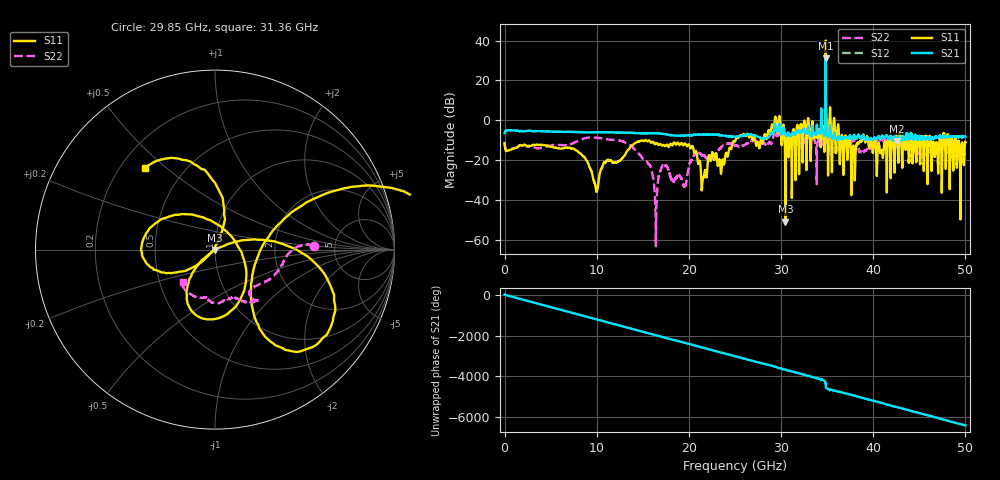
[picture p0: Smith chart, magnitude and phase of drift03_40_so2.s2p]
!Created with skrf (http://scikit-rf.org).
# Hz S RI R 50.0
!freq ReS11 ImS11 ReS21 ImS21 ReS12 ImS12 ReS22 ImS22
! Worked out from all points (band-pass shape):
!   10001 points, 300 kHz to 50 GHz, reference 50 ohm
!   highest |S21| = 31.16 dB at 34.85 GHz (marker M1); lowest = -10.4 dB at 42.56 GHz (marker M2)
!   |S21| within 3 dB of the highest: 34.8439 GHz to 34.84583 GHz (1.936 MHz wide, 0.00556 % of centre)
!   lowest |S11| = -50.9 dB at 30.47 GHz (marker M3), VSWR 1.01, Z = 49.8 - j0.222 ohm
!   |S11| at or under -10 dB: start of sweep to 15.23 GHz; 15.32 GHz to 25.05 GHz (9.731 GHz wide, 48.2 % of centre); 40.22 GHz to 41.62 GHz (1.4 GHz wide, 3.42 % of centre) (the widest 3 of 53)
!   |S22| runs from -63.2 to 22.1 dB; largest |S21 - S12| = 5
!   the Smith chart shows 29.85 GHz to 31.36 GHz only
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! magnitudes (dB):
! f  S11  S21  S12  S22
! 300 kHz  -11.4  -6.5  -6.5  -11.4
! 8.335 GHz  -17.1  -6.0  -6.0  -9.6
! 9.955 GHz  -35.6  -6.1  -6.1  -8.7
! 11 GHz  -20.8  -6.0  -6.1  -9.5
! 13.93 GHz  -12.3  -6.3  -6.3  -13.8
! 16.36 GHz  -11.9  -6.5  -6.5  -43.1
! 16.67 GHz  -12.4  -6.6  -6.5  -29.6
! 17.33 GHz  -12.7  -6.9  -6.9  -22.9
! 19.55 GHz  -11.7  -7.7  -7.7  -32.9
! 20.22 GHz  -13.9  -7.5  -7.5  -20.3
! 21.55 GHz  -28.7  -7.2  -7.2  -17.8
! 25 GHz  -10.6  -8.3  -8.2  -12.5
! 29.6 GHz  -5.5  -5.7  -5.9  -7.8
! 30.47 GHz  -50.9  -7.2  -7.2  -9.1
! 33.34 GHz  -3.8  -6.8  -6.7  -9.4
! 34.85 GHz  40.0  31.2  30.9  22.1
! 35.63 GHz  -6.6  -9.2  -9.1  -16.1
! 37.82 GHz  -12.8  -8.3  -8.3  -9.9
! 38.81 GHz  -9.0  -8.2  -8.3  -16.1
! 41.67 GHz  -9.4  -9.4  -9.4  -11.4
! 42.56 GHz  -8.3  -10.4  -10.5  -13.4
! 50 GHz  -10.8  -8.3  -8.3  -15.6
